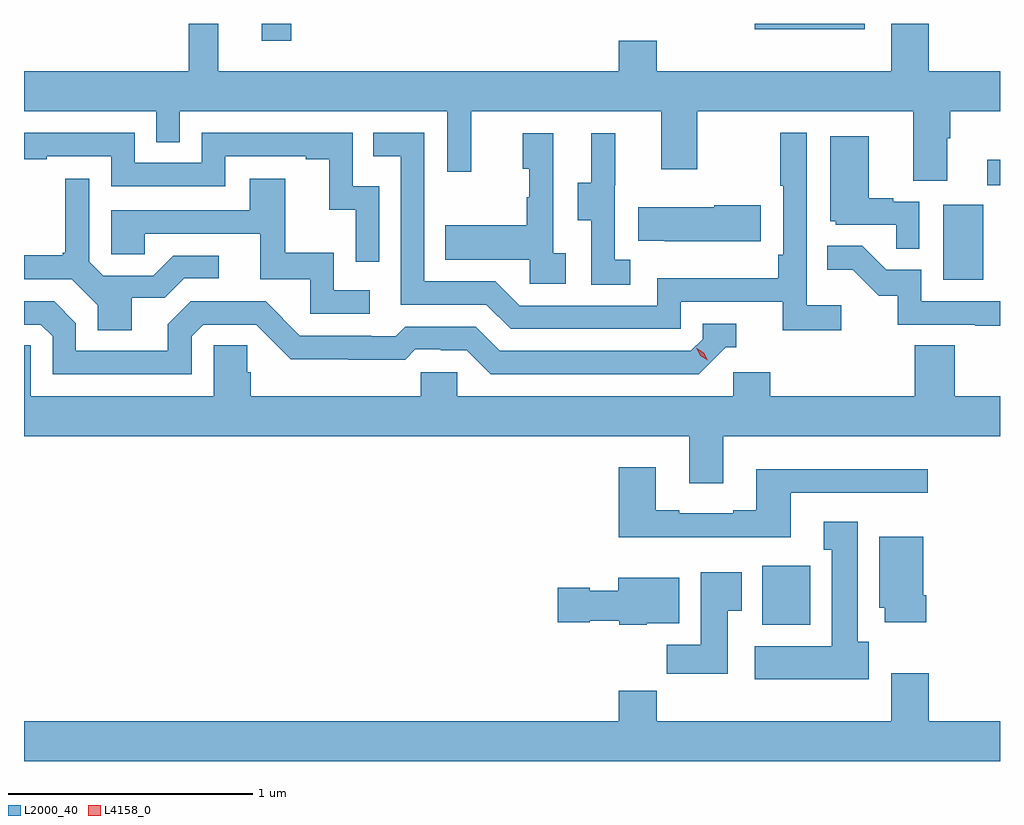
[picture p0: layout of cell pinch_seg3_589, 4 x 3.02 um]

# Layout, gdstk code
import gdstk
lib = gdstk.Library(unit=1e-6, precision=1e-09)
def R(c, l, rs):  # rectangles x0, y0, x1, y1
    for r in rs: c.add(gdstk.rectangle(r[:2], r[2:], *l))
def P(c, l, *ps):  # polygons
    for p in ps: c.add(gdstk.Polygon(p, *l))
L2000_40 = (2000, 40)
L4158_0 = (4158, 0)

pinch_seg3_589 = lib.new_cell('pinch_seg3_589')
R(pinch_seg3_589, L2000_40, [(1059.059,697.478,1059.256,697.72), (1059.8,698.892,1059.964,699.199), (1059.981,699.279,1060.033,699.385), (1057.007,699.873,1057.129,699.941), (1059.027,699.92,1059.478,699.941)])
P(pinch_seg3_589, L2000_40, [(1059.817,699.472),(1059.83,699.472),(1059.83,699.584),(1060.033,699.584),(1060.033,699.748),(1059.74,699.748),(1059.74,699.941),(1059.587,699.941),(1059.587,699.748),(1058.627,699.748),(1058.627,699.872),(1058.471,699.872),(1058.471,699.748),(1056.829,699.748),(1056.829,699.941),(1056.708,699.941),(1056.708,699.748),(1056.033,699.748),(1056.033,699.584),(1056.576,699.584),(1056.576,699.457),(1056.672,699.457),(1056.672,699.584),(1057.767,699.584),(1057.767,699.336),(1057.865,699.336),(1057.865,699.584),(1058.645,699.584),(1058.645,699.345),(1058.793,699.345),(1058.793,699.584),(1059.677,699.584),(1059.677,699.298),(1059.817,699.298)],
  [(1059.382,698.788),(1059.24,698.788),(1059.24,699.496),(1059.132,699.496),(1059.132,699.277),(1059.144,699.277),(1059.144,698.995),(1059.124,698.995),(1059.124,698.899),(1058.628,698.899),(1058.628,698.787),(1058.064,698.787),(1057.965,698.886),(1057.674,698.886),(1057.674,699.495),(1057.465,699.495),(1057.465,699.399),(1057.578,699.399),(1057.578,698.79),(1057.928,698.79),(1058.027,698.691),(1058.724,698.691),(1058.724,698.802),(1059.143,698.802),(1059.143,698.686),(1059.382,698.686)],
  [(1057.488,699.276),(1057.38,699.276),(1057.38,699.495),(1056.762,699.495),(1056.762,699.372),(1056.486,699.372),(1056.486,699.495),(1056.033,699.495),(1056.033,699.387),(1056.127,699.387),(1056.127,699.399),(1056.39,699.399),(1056.39,699.276),(1056.858,699.276),(1056.858,699.399),(1057.187,699.399),(1057.187,699.387),(1057.283,699.387),(1057.283,699.179),(1057.392,699.179),(1057.392,698.967),(1057.488,698.967)],
  [(1058.518,698.975),(1058.454,698.975),(1058.454,699.279),(1058.456,699.279),(1058.456,699.493),(1058.357,699.493),(1058.357,699.291),(1058.303,699.291),(1058.303,699.136),(1058.358,699.136),(1058.358,698.872),(1058.518,698.872)],
  [(1058.254,699.002),(1058.202,699.002),(1058.202,699.493),(1058.078,699.493),(1058.078,699.348),(1058.104,699.348),(1058.104,699.23),(1058.094,699.23),(1058.094,699.115),(1057.759,699.115),(1057.759,698.975),(1058.106,698.975),(1058.106,698.877),(1058.254,698.877)],
  [(1059.702,699.213),(1059.596,699.213),(1059.596,699.226),(1059.496,699.226),(1059.496,699.481),(1059.338,699.481),(1059.338,699.132),(1059.36,699.132),(1059.36,699.117),(1059.607,699.117),(1059.607,699.019),(1059.702,699.019)],
  [(1056.475,698.818),(1056.61,698.818),(1056.69,698.898),(1056.832,698.898),(1056.832,698.991),(1056.644,698.991),(1056.563,698.91),(1056.357,698.91),(1056.3,698.967),(1056.3,699.307),(1056.203,699.307),(1056.203,699.004),(1056.192,699.004),(1056.192,698.992),(1056.033,698.992),(1056.033,698.895),(1056.228,698.895),(1056.335,698.788),(1056.335,698.686),(1056.475,698.686)],
  [(1057.45,698.85),(1057.302,698.85),(1057.302,699.004),(1057.103,699.004),(1057.103,699.307),(1056.959,699.307),(1056.959,699.177),(1056.39,699.177),(1056.39,698.997),(1056.527,698.997),(1056.527,699.081),(1057.001,699.081),(1057.001,698.895),(1057.206,698.895),(1057.206,698.754),(1057.45,698.754)],
  [(1059.052,699.198),(1058.861,699.198),(1058.861,699.19),(1058.551,699.19),(1058.551,699.053),(1058.659,699.053),(1058.659,699.05),(1059.052,699.05)],
  [(1060.033,698.805),(1059.711,698.805),(1059.711,698.934),(1059.567,698.934),(1059.469,699.032),(1059.325,699.032),(1059.325,698.933),(1059.429,698.933),(1059.536,698.826),(1059.613,698.826),(1059.613,698.709),(1059.931,698.709),(1059.931,698.704),(1060.033,698.704)],
  [(1056.72,698.661),(1056.768,698.709),(1056.984,698.709),(1057.126,698.567),(1057.362,698.567),(1057.362,698.565),(1057.595,698.565),(1057.637,698.607),(1057.74,698.607),(1057.74,698.604),(1057.847,698.604),(1057.946,698.505),(1058.799,698.505),(1058.91,698.616),(1058.953,698.616),(1058.953,698.712),(1058.814,698.712),(1058.814,698.649),(1058.766,698.601),(1057.983,698.601),(1057.884,698.7),(1057.595,698.7),(1057.556,698.661),(1057.457,698.661),(1057.457,698.664),(1057.164,698.664),(1057.023,698.805),(1056.717,698.805),(1056.623,698.711),(1056.623,698.601),(1056.246,698.601),(1056.246,698.715),(1056.156,698.805),(1056.033,698.805),(1056.033,698.709),(1056.102,698.709),(1056.15,698.661),(1056.15,698.505),(1056.72,698.505)],
  [(1058.899,698.252),(1060.033,698.252),(1060.033,698.416),(1059.848,698.416),(1059.848,698.624),(1059.683,698.624),(1059.683,698.416),(1059.092,698.416),(1059.092,698.514),(1058.94,698.514),(1058.94,698.416),(1057.809,698.416),(1057.809,698.514),(1057.659,698.514),(1057.659,698.416),(1056.962,698.416),(1056.962,698.514),(1056.947,698.514),(1056.947,698.624),(1056.81,698.624),(1056.81,698.416),(1056.06,698.416),(1056.06,698.624),(1056.033,698.624),(1056.033,698.252),(1058.759,698.252),(1058.759,698.058),(1058.899,698.058)],
  [(1059.175,698.019),(1059.736,698.019),(1059.736,698.116),(1059.035,698.116),(1059.035,697.948),(1058.939,697.948),(1058.939,697.935),(1058.719,697.935),(1058.719,697.948),(1058.623,697.948),(1058.623,698.125),(1058.471,698.125),(1058.471,697.838),(1059.175,697.838)],
  [(1059.496,697.41),(1059.451,697.41),(1059.451,697.9),(1059.311,697.9),(1059.311,697.787),(1059.344,697.787),(1059.344,697.39),(1059.027,697.39),(1059.027,697.256),(1059.496,697.256)],
  [(1059.731,697.6),(1059.718,697.6),(1059.718,697.84),(1059.539,697.84),(1059.539,697.548),(1059.56,697.548),(1059.56,697.488),(1059.731,697.488)],
  [(1058.917,697.537),(1058.974,697.537),(1058.974,697.693),(1058.807,697.693),(1058.807,697.396),(1058.668,697.396),(1058.668,697.278),(1058.917,697.278)],
  [(1058.586,697.484),(1058.719,697.484),(1058.719,697.672),(1058.468,697.672),(1058.468,697.618),(1058.352,697.618),(1058.352,697.631),(1058.22,697.631),(1058.22,697.489),(1058.352,697.489),(1058.352,697.496),(1058.472,697.496),(1058.472,697.478),(1058.586,697.478)],
  [(1060.033,697.084),(1059.74,697.084),(1059.74,697.279),(1059.587,697.279),(1059.587,697.084),(1058.627,697.084),(1058.627,697.208),(1058.471,697.208),(1058.471,697.084),(1056.033,697.084),(1056.033,696.92),(1060.033,696.92)])
P(pinch_seg3_589, L4158_0, [(1058.836,698.562),(1058.805,698.581),(1058.788,698.613),(1058.788,698.613),(1058.788,698.613),(1058.819,698.594),(1058.836,698.562),(1058.836,698.562)])

lib.write_gds('pinch_seg3_589.gds')
